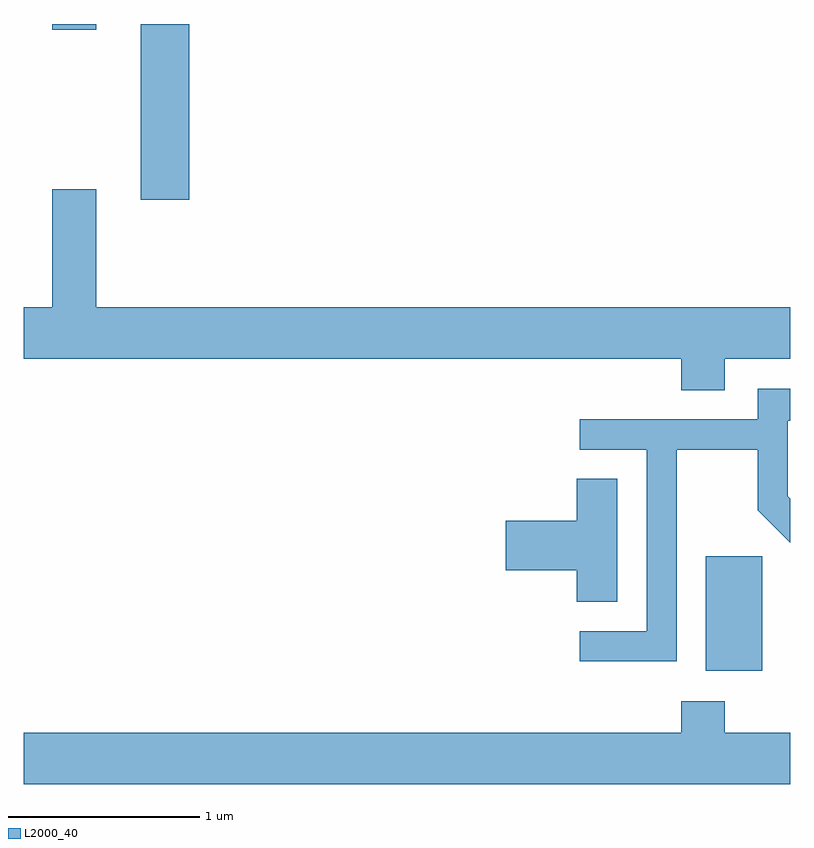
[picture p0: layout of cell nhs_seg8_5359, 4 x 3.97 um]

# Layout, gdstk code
import gdstk
lib = gdstk.Library(unit=1e-6, precision=1e-09)
def R(c, l, rs):  # rectangles x0, y0, x1, y1
    for r in rs: c.add(gdstk.rectangle(r[:2], r[2:], *l))
def P(c, l, *ps):  # polygons
    for p in ps: c.add(gdstk.Polygon(p, *l))
L2000_40 = (2000, 40)

nhs_seg8_5359 = lib.new_cell('nhs_seg8_5359')
R(nhs_seg8_5359, L2000_40, [(349.171,1876.966,349.464,1877.564), (346.221,1879.426,346.474,1880.342), (345.761,1880.311,345.989,1880.342)])
P(nhs_seg8_5359, L2000_40, [(349.269,1878.596),(349.611,1878.596),(349.611,1878.864),(345.989,1878.864),(345.989,1879.479),(345.761,1879.479),(345.761,1878.864),(345.611,1878.864),(345.611,1878.596),(349.041,1878.596),(349.041,1878.431),(349.269,1878.431)],
  [(349.019,1878.121),(349.441,1878.121),(349.441,1877.804),(349.611,1877.634),(349.611,1877.865),(349.599,1877.877),(349.599,1878.271),(349.611,1878.271),(349.611,1878.439),(349.441,1878.439),(349.441,1878.279),(348.513,1878.279),(348.513,1878.121),(348.861,1878.121),(348.861,1877.174),(348.513,1877.174),(348.513,1877.016),(349.019,1877.016)],
  [(348.709,1877.969),(348.496,1877.969),(348.496,1877.749),(348.126,1877.749),(348.126,1877.491),(348.496,1877.491),(348.496,1877.326),(348.709,1877.326)],
  [(349.611,1876.644),(349.269,1876.644),(349.269,1876.809),(349.041,1876.809),(349.041,1876.644),(345.611,1876.644),(345.611,1876.376),(349.611,1876.376)])

lib.write_gds('nhs_seg8_5359.gds')
